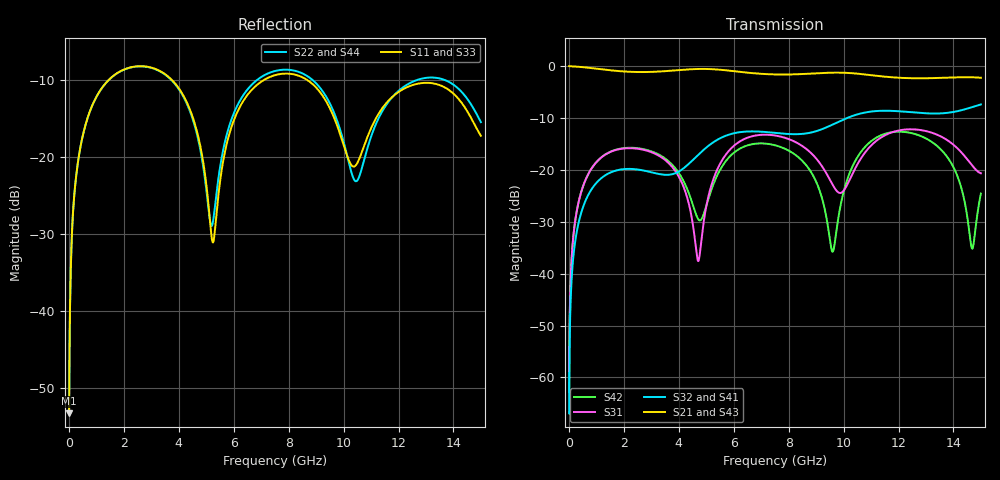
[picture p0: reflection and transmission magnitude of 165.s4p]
! Created with skrf 1.8.0 (http://scikit-rf.org).
# GHz S RI R 50.0
!freq ReS11 ImS11 ReS12 ImS12 ReS13 ImS13
! ReS14 ImS14
! ReS21 ImS21 ReS22 ImS22 ReS23 ImS23
! ReS24 ImS24
! ReS31 ImS31 ReS32 ImS32 ReS33 ImS33
! ReS34 ImS34
! ReS41 ImS41 ReS42 ImS42 ReS43 ImS43
! ReS44 ImS44
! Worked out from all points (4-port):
!   2499 points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, 5 MHz to 15 GHz, reference 50 ohm
!   strongest paths, dB at 5 MHz, 3.476 GHz, 7.19 GHz, 11.1 GHz, 15 GHz:
!     S21: 0.0, -1.0, -1.5, -1.8, -2.2
!     S43: 0.0, -1.0, -1.6, -1.8, -2.2
!     S32: -66.9, -20.9, -12.7, -8.7, -7.4
!     S41: -66.9, -21.0, -12.8, -8.7, -7.4
!     S31: -62.8, -18.0, -13.2, -14.8, -20.7
!     S42: -62.8, -17.7, -15.0, -14.1, -24.6
!   lowest |S11| = -53.3 dB at 5 MHz (marker M1), VSWR 1.00, Z = 50.2 + j0.131 ohm
!   |S11| at or under -10 dB: start of sweep to 1.433 GHz; 3.761 GHz to 7.076 GHz (3.314 GHz wide, 61.2 % of centre); 8.697 GHz to end of sweep
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0.005  0.00172 0.0013  0.9982 -0.00335  8.78e-05 0.000716  -8.51e-05 -0.000444
       0.9982 -0.00335  0.00172 0.0013  -8.51e-05 -0.000444  8.78e-05 0.000716
       8.78e-05 0.000716  -8.51e-05 -0.000444  0.00172 0.0013  0.9982 -0.00335
       -8.51e-05 -0.000444  8.78e-05 0.000716  0.9982 -0.00335  0.00172 0.0013
0.3126303  0.0261 0.0853  0.9643 -0.2078  0.0125 0.0423  -0.0104 -0.0258
           0.9643 -0.2078  0.0261 0.0853  -0.0104 -0.0258  0.0127 0.0422
           0.0125 0.0423  -0.0104 -0.0258  0.0261 0.0852  0.9643 -0.2078
           -0.0104 -0.0258  0.0127 0.0422  0.9643 -0.2078  0.0261 0.0852
1.569404  0.2874 0.1684  0.5091 -0.7511  0.1386 0.0606  -0.0956 0.000727
          0.5091 -0.7511  0.2865 0.169  -0.0958 0.000953  0.141 0.057
          0.1386 0.0606  -0.0958 0.000953  0.2873 0.1685  0.5091 -0.7511
          -0.0956 0.000727  0.141 0.057  0.5091 -0.7511  0.2866 0.1689
5.058358  0.0301 -0.0444  -0.9241 -0.1577  0.0202 0.0488  -0.0271 0.1667
          -0.9241 -0.1577  0.037 -0.0338  -0.0241 0.1672  -0.0319 0.0394
          0.0202 0.0488  -0.0241 0.1672  0.0296 -0.0438  -0.9242 -0.1573
          -0.0271 0.1667  -0.0319 0.0394  -0.9242 -0.1573  0.037 -0.0329
8.059608  0.3482 -0.0196  -0.0172 0.8304  0.1525 -0.1221  0.2109 -0.0572
          -0.0172 0.8304  0.367 -0.0438  0.2116 -0.0647  0.144 -0.043
          0.1525 -0.1221  0.2116 -0.0647  0.3491 -0.0149  -0.0174 0.8294
          0.2109 -0.0572  0.144 -0.043  -0.0174 0.8294  0.3704 -0.0477
10.8045  0.1117 0.0589  0.8273 -0.049  0.0441 0.1431  -0.0368 -0.3563
         0.8273 -0.049  0.0911 0.051  -0.0505 -0.3544  0.0585 0.1587
         0.0441 0.1431  -0.0505 -0.3544  0.1156 0.0528  0.8276 -0.0473
         -0.0368 -0.3563  0.0585 0.1587  0.8276 -0.0473  0.0869 0.0502
15  0.1332 -0.0357  -0.6049 -0.4801  -0.0903 -0.0214  -0.2719 0.3301
    -0.6049 -0.4801  0.1412 -0.093  -0.2529 0.3443  -0.0302 0.0509
    -0.0903 -0.0214  -0.2529 0.3443  0.1368 -0.033  -0.6043 -0.481
    -0.2719 0.3301  -0.0302 0.0509  -0.6043 -0.481  0.1384 -0.0917
